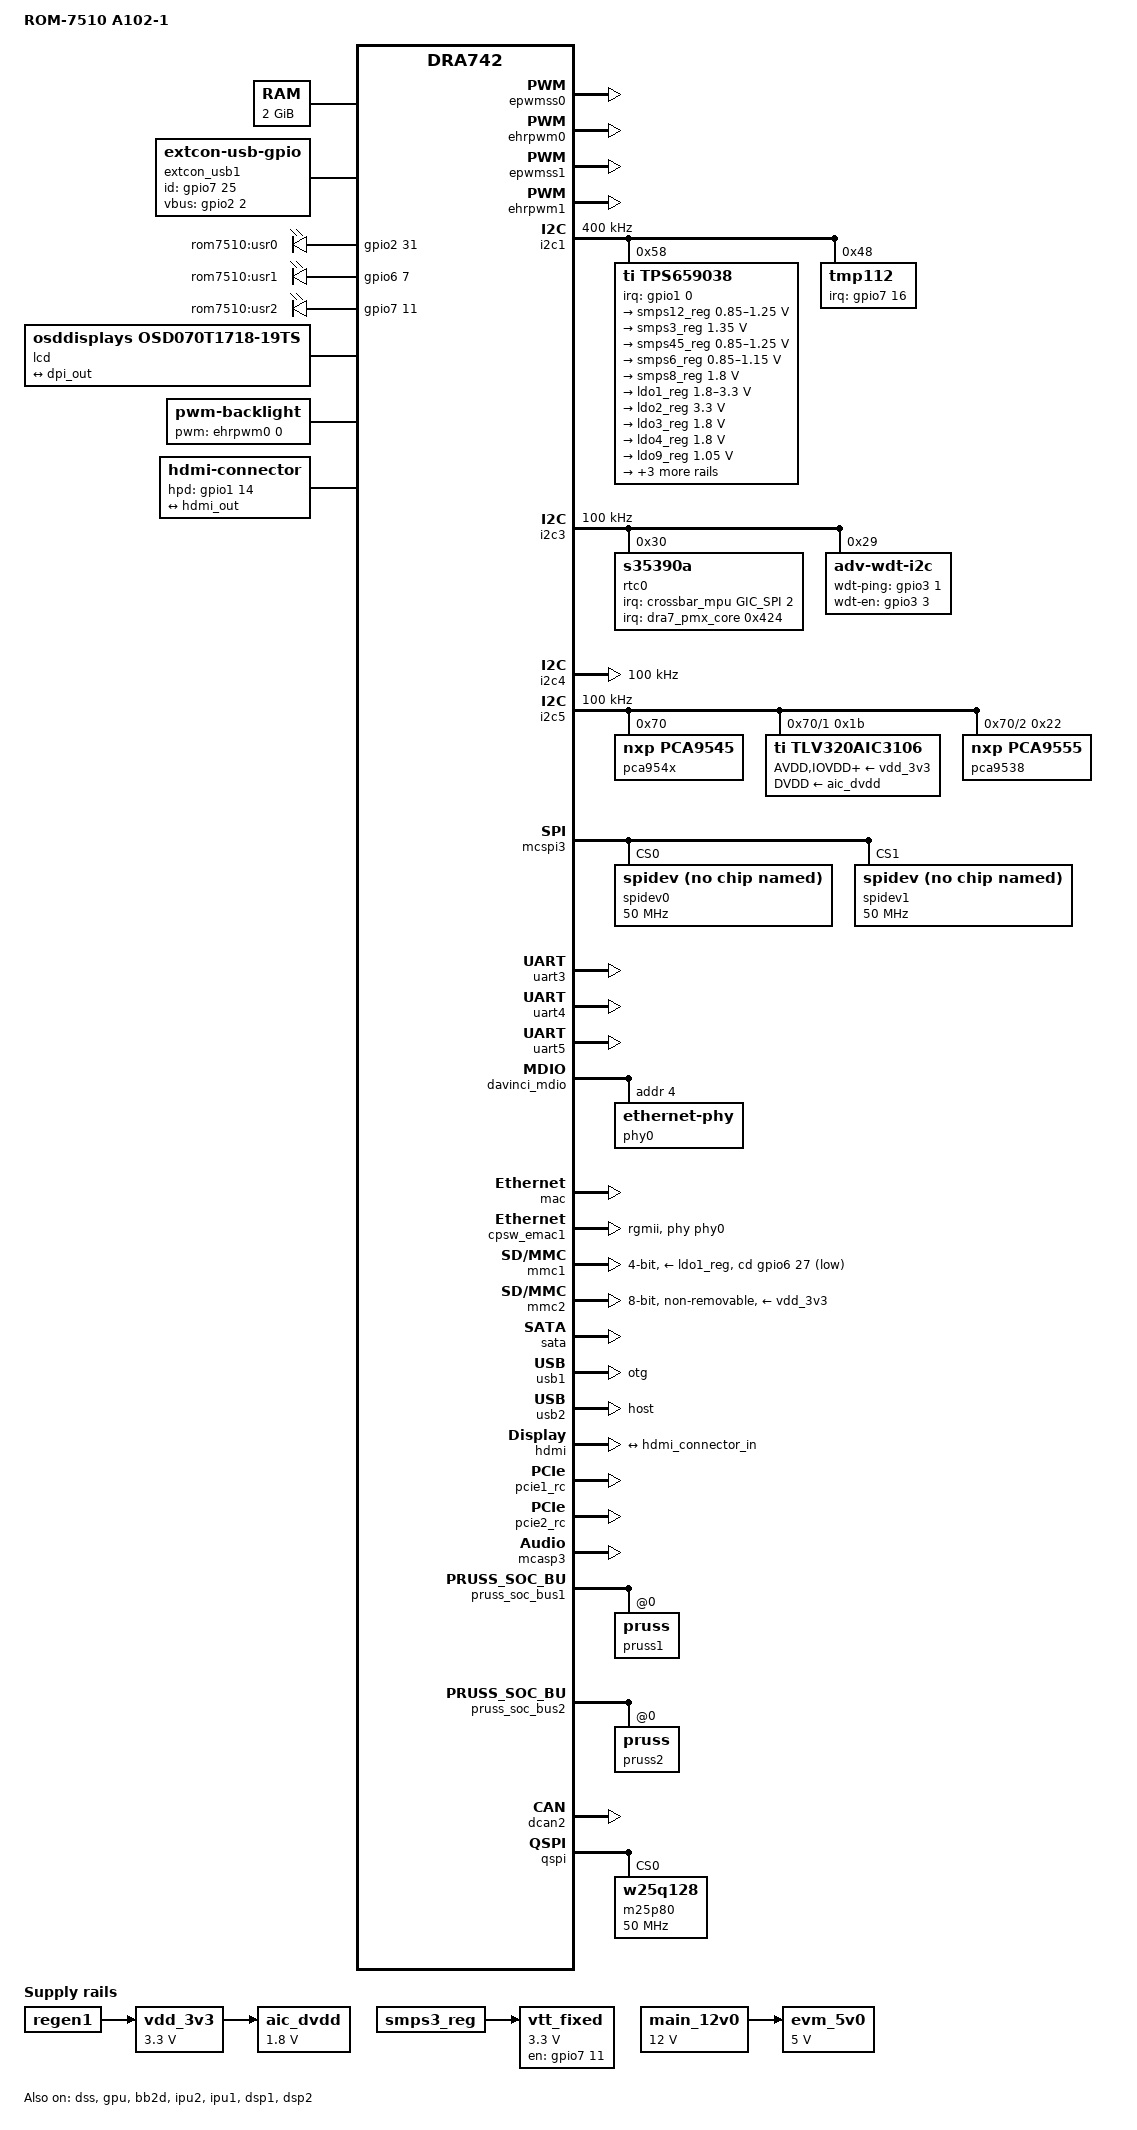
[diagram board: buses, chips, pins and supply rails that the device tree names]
/*
 * Copyright (C) 2014-2016 Texas Instruments Incorporated - http://www.ti.com/
 *
 * This program is free software; you can redistribute it and/or modify
 * it under the terms of the GNU General Public License version 2 as
 * published by the Free Software Foundation.
 */
/dts-v1/;

#include "dra74x.dtsi"
#include "am57xx-commercial-grade.dtsi"
#include "dra74-ipu-dsp-common.dtsi"
#include <dt-bindings/gpio/gpio.h>
#include <dt-bindings/interrupt-controller/irq.h>

/ {
	model = "ROM-7510 A102-1";
	compatible = "ti,am572x-beagle-x15", "ti,am5728", "ti,dra742", "ti,dra74", "ti,dra7";

	aliases {
		rtc0 = &rtc;
		display0 = &hdmi0;
		display1 = &lcd0;

		sound0 = &sound0;
		sound1 = &hdmi;
	};

	ocp {
		axi@0 {
			status = "okay";
		};

		axi@1 {
			status = "okay";
		};
	};

	chosen {
		stdout-path = &uart3;
	};

	memory@0 {
		device_type = "memory";
		reg = <0x0 0x80000000 0x0 0x80000000>;
	};

	reserved-memory {
		#address-cells = <2>;
		#size-cells = <2>;
		ranges;

		ipu2_memory_region: ipu2-memory@95800000 {
			compatible = "shared-dma-pool";
			reg = <0x0 0x95800000 0x0 0x3800000>;
			reusable;
			status = "okay";
		};

		dsp1_memory_region: dsp1-memory@99000000 {
			compatible = "shared-dma-pool";
			reg = <0x0 0x99000000 0x0 0x4000000>;
			reusable;
			status = "okay";
		};

		ipu1_memory_region: ipu1-memory@9d000000 {
			compatible = "shared-dma-pool";
			reg = <0x0 0x9d000000 0x0 0x2000000>;
			reusable;
			status = "okay";
		};

		dsp2_memory_region: dsp2-memory@9f000000 {
			compatible = "shared-dma-pool";
			reg = <0x0 0x9f000000 0x0 0x800000>;
			reusable;
			status = "okay";
		};

		cmem_block_mem_0: cmem_block_mem@a0000000 {
			reg = <0x0 0xa0000000 0x0 0x0c000000>;
			no-map;
			status = "okay";
		};

		cmem_block_mem_1_ocmc3: cmem_block_mem@40500000 {
			reg = <0x0 0x40500000 0x0 0x100000>;
			no-map;
			status = "okay";
		};
	};

	cmem {
		compatible = "ti,cmem";
		#address-cells = <1>;
		#size-cells = <0>;

		#pool-size-cells = <2>;

		status = "okay";

		cmem_block_0: cmem_block@0 {
			reg = <0>;
			memory-region = <&cmem_block_mem_0>;
			cmem-buf-pools = <1 0x0 0x0c000000>;
		};

		cmem_block_1: cmem_block@1 {
			reg = <1>;
			memory-region = <&cmem_block_mem_1_ocmc3>;
		};
	};

	main_12v0: fixedregulator-main_12v0 {
		/* main supply */
		compatible = "regulator-fixed";
		regulator-name = "main_12v0";
		regulator-min-microvolt = <12000000>;
		regulator-max-microvolt = <12000000>;
		regulator-always-on;
		regulator-boot-on;
	};

	evm_5v0: fixedregulator-evm_5v0 {
		/* Output of TPS54531D */
		compatible = "regulator-fixed";
		regulator-name = "evm_5v0";
		regulator-min-microvolt = <5000000>;
		regulator-max-microvolt = <5000000>;
		vin-supply = <&main_12v0>;
		regulator-always-on;
		regulator-boot-on;
	};

	vdd_3v3: fixedregulator-vdd_3v3 {
		compatible = "regulator-fixed";
		regulator-name = "vdd_3v3";
		vin-supply = <&regen1>;
		regulator-min-microvolt = <3300000>;
		regulator-max-microvolt = <3300000>;
	};

	aic_dvdd: fixedregulator-aic_dvdd {
		compatible = "regulator-fixed";
		regulator-name = "aic_dvdd_fixed";
		vin-supply = <&vdd_3v3>;
		regulator-min-microvolt = <1800000>;
		regulator-max-microvolt = <1800000>;
	};

	vtt_fixed: fixedregulator-vtt {
		/* TPS51200 */
		compatible = "regulator-fixed";
		regulator-name = "vtt_fixed";
		vin-supply = <&smps3_reg>;
		regulator-min-microvolt = <3300000>;
		regulator-max-microvolt = <3300000>;
		regulator-always-on;
		regulator-boot-on;
		enable-active-high;
		gpio = <&gpio7 11 GPIO_ACTIVE_HIGH>;
	};

	extcon_usb1: extcon_usb1 {
		compatible = "linux,extcon-usb-gpio";
		ti,enable-vbus-detection;
		ti,enable-id-detection;
		id-gpio = <&gpio7 25 GPIO_ACTIVE_HIGH>;
		vbus-gpio = <&gpio2 2 GPIO_ACTIVE_HIGH>;
	};

	leds {
		compatible = "gpio-leds";

		led0 {
			label = "rom7510:usr0";
			gpios = <&gpio2 31 GPIO_ACTIVE_HIGH>;
			linux,default-trigger = "mmc0";
			default-state = "off";
		};

		led1 {
			label = "rom7510:usr1";
			gpios = <&gpio6 7 GPIO_ACTIVE_HIGH>;
			linux,default-trigger = "watchdog";
			default-state = "off";
		};

		led2 {
			label = "rom7510:usr2";
			gpios = <&gpio7 11 GPIO_ACTIVE_HIGH>;
			linux,default-trigger = "ide-disk";
			default-state = "off";
		};
	};

	/*
	* LCD Pannel Setting 
	*/
	lcd0: display {
		compatible = "osddisplays,osd070t1718-19ts", "panel-dpi";
		label = "lcd";

		/* enable-gpios = <&gpio2 5 GPIO_ACTIVE_HIGH>;*/

		panel-timing {
			clock-frequency = <148500000>;
			hactive = <1920>;
			vactive = <1080>;
			hfront-porch = <24>;
			hback-porch = <54>;
			hsync-len = <12>;
			vback-porch = <3>;
			vfront-porch = <40>;
			vsync-len = <7>;
			hsync-active = <0>;
			vsync-active = <0>;
			de-active = <1>;
			pixelclk-active = <1>;
		};
		/*panel-timing {
			clock-frequency = <29500000>;
			hactive = <800>;
			vactive = <480>;
			hfront-porch = <24>;
			hback-porch = <96>;
			hsync-len = <72>;
			vback-porch = <3>;
			vfront-porch = <10>;
			vsync-len = <7>;
			hsync-active = <0>;
			vsync-active = <0>;
			de-active = <1>;
			pixelclk-active = <1>;
		};*/

		/*panel-timing {
			clock-frequency = <65000000>;
			hactive = <1024>;
			vactive = <768>;
			hfront-porch = <40>;
			hback-porch = <220>;
			hsync-len = <60>;
			vback-porch = <21>;
			vfront-porch = <7>;
			vsync-len = <10>;
			hsync-active = <0>;
			vsync-active = <0>;
			de-active = <1>;
			pixelclk-active = <1>;
		};*/
		

		port {
			lcd_in: endpoint {
				remote-endpoint = <&dpi_out>;
			};
		};
	};

	/*
	* LCD Backlight.
	*/
	backlight {
		compatible = "pwm-backlight";
		pwms = <&ehrpwm0 0 50000 0>;

		/* Anything lower than 241 is no longer visible */
		brightness-levels = <0 150 245 247 249 251 252 253 255>;

		default-brightness-level = <1>;
	};

	hdmi0: connector {
		compatible = "hdmi-connector";
		label = "hdmi";

		type = "a";
		hpd-gpios = <&gpio1 14 GPIO_ACTIVE_HIGH>; /* HPD */

		port {
			hdmi_connector_in: endpoint {
				remote-endpoint = <&hdmi_out>;
			};
		};
	};

	sound0: sound0 {
		compatible = "simple-audio-card";
		simple-audio-card,name = "BeagleBoard-X15";
		simple-audio-card,widgets =
			"Headphone", "Headphone Jack",
			"Microphone", "Mic Jack";
		simple-audio-card,routing =
			"Headphone Jack", "HPLOUT",
			"Headphone Jack", "HPROUT",
			"MIC3R",	"Mic Jack",
			"Mic Jack", "Mic Bias";
		simple-audio-card,format = "dsp_b";
		simple-audio-card,bitclock-master = <&sound0_master>;
		simple-audio-card,frame-master = <&sound0_master>;
		simple-audio-card,bitclock-inversion;

		simple-audio-card,cpu {
			sound-dai = <&mcasp3>;
		};

		sound0_master: simple-audio-card,codec {
			sound-dai = <&tlv320aic3106>;
			clocks = <&clkout2_clk>;
		};
	};
};

&dra7_pmx_core {
	mmc1_pins_default: mmc1_pins_default {
		pinctrl-single,pins = <
			DRA7XX_CORE_IOPAD(0x3754, PIN_INPUT_PULLUP | MUX_MODE0) /* mmc1_clk.clk */
			DRA7XX_CORE_IOPAD(0x3758, PIN_INPUT_PULLUP | MUX_MODE0) /* mmc1_cmd.cmd */
			DRA7XX_CORE_IOPAD(0x375c, PIN_INPUT_PULLUP | MUX_MODE0) /* mmc1_dat0.dat0 */
			DRA7XX_CORE_IOPAD(0x3760, PIN_INPUT_PULLUP | MUX_MODE0) /* mmc1_dat1.dat1 */
			DRA7XX_CORE_IOPAD(0x3764, PIN_INPUT_PULLUP | MUX_MODE0) /* mmc1_dat2.dat2 */
			DRA7XX_CORE_IOPAD(0x3768, PIN_INPUT_PULLUP | MUX_MODE0) /* mmc1_dat3.dat3 */
		>;
	};

	mmc1_pins_default_no_clk_pu: mmc1_pins_default_no_clk_pu {
		pinctrl-single,pins = <
			DRA7XX_CORE_IOPAD(0x3754, PIN_INPUT_PULLDOWN | MUX_MODE0) /* mmc1_clk.clk */
			DRA7XX_CORE_IOPAD(0x3758, PIN_INPUT_PULLUP | MUX_MODE0) /* mmc1_cmd.cmd */
			DRA7XX_CORE_IOPAD(0x375c, PIN_INPUT_PULLUP | MUX_MODE0) /* mmc1_dat0.dat0 */
			DRA7XX_CORE_IOPAD(0x3760, PIN_INPUT_PULLUP | MUX_MODE0) /* mmc1_dat1.dat1 */
			DRA7XX_CORE_IOPAD(0x3764, PIN_INPUT_PULLUP | MUX_MODE0) /* mmc1_dat2.dat2 */
			DRA7XX_CORE_IOPAD(0x3768, PIN_INPUT_PULLUP | MUX_MODE0) /* mmc1_dat3.dat3 */
		>;
	};

	mmc1_pins_sdr12: mmc1_pins_sdr12 {
		pinctrl-single,pins = <
			DRA7XX_CORE_IOPAD(0x3754, PIN_INPUT_PULLUP | MUX_MODE0)	/* mmc1_clk.clk */
			DRA7XX_CORE_IOPAD(0x3758, PIN_INPUT_PULLUP | MUX_MODE0)	/* mmc1_cmd.cmd */
			DRA7XX_CORE_IOPAD(0x375c, PIN_INPUT_PULLUP | MUX_MODE0)	/* mmc1_dat0.dat0 */
			DRA7XX_CORE_IOPAD(0x3760, PIN_INPUT_PULLUP | MUX_MODE0)	/* mmc1_dat1.dat1 */
			DRA7XX_CORE_IOPAD(0x3764, PIN_INPUT_PULLUP | MUX_MODE0)	/* mmc1_dat2.dat2 */
			DRA7XX_CORE_IOPAD(0x3768, PIN_INPUT_PULLUP | MUX_MODE0)	/* mmc1_dat3.dat3 */
		>;
	};

	mmc1_pins_hs: mmc1_pins_hs {
		pinctrl-single,pins = <
			DRA7XX_CORE_IOPAD(0x3754, PIN_INPUT_PULLUP | MUX_VIRTUAL_MODE11 | MUX_MODE0) /* mmc1_clk.clk */
			DRA7XX_CORE_IOPAD(0x3758, PIN_INPUT_PULLUP | MUX_VIRTUAL_MODE11 | MUX_MODE0) /* mmc1_cmd.cmd */
			DRA7XX_CORE_IOPAD(0x375c, PIN_INPUT_PULLUP | MUX_VIRTUAL_MODE11 | MUX_MODE0) /* mmc1_dat0.dat0 */
			DRA7XX_CORE_IOPAD(0x3760, PIN_INPUT_PULLUP | MUX_VIRTUAL_MODE11 | MUX_MODE0) /* mmc1_dat1.dat1 */
			DRA7XX_CORE_IOPAD(0x3764, PIN_INPUT_PULLUP | MUX_VIRTUAL_MODE11 | MUX_MODE0) /* mmc1_dat2.dat2 */
			DRA7XX_CORE_IOPAD(0x3768, PIN_INPUT_PULLUP | MUX_VIRTUAL_MODE11 | MUX_MODE0) /* mmc1_dat3.dat3 */
		>;
	};

	mmc1_pins_sdr25: mmc1_pins_sdr25 {
		pinctrl-single,pins = <
			DRA7XX_CORE_IOPAD(0x3754, PIN_INPUT_PULLUP | MUX_VIRTUAL_MODE11 | MUX_MODE0)	/* mmc1_clk.clk */
			DRA7XX_CORE_IOPAD(0x3758, PIN_INPUT_PULLUP | MUX_VIRTUAL_MODE11 | MUX_MODE0)	/* mmc1_cmd.cmd */
			DRA7XX_CORE_IOPAD(0x375c, PIN_INPUT_PULLUP | MUX_VIRTUAL_MODE11 | MUX_MODE0)	/* mmc1_dat0.dat0 */
			DRA7XX_CORE_IOPAD(0x3760, PIN_INPUT_PULLUP | MUX_VIRTUAL_MODE11 | MUX_MODE0)	/* mmc1_dat1.dat1 */
			DRA7XX_CORE_IOPAD(0x3764, PIN_INPUT_PULLUP | MUX_VIRTUAL_MODE11 | MUX_MODE0)	/* mmc1_dat2.dat2 */
			DRA7XX_CORE_IOPAD(0x3768, PIN_INPUT_PULLUP | MUX_VIRTUAL_MODE11 | MUX_MODE0)	/* mmc1_dat3.dat3 */
		>;
	};

	mmc1_pins_sdr50: mmc1_pins_sdr50 {
		pinctrl-single,pins = <
			DRA7XX_CORE_IOPAD(0x3754, PIN_INPUT_PULLUP | MUX_VIRTUAL_MODE10 | MUX_MODE0)	/* mmc1_clk.clk */
			DRA7XX_CORE_IOPAD(0x3758, PIN_INPUT_PULLUP | MUX_VIRTUAL_MODE10 | MUX_MODE0)	/* mmc1_cmd.cmd */
			DRA7XX_CORE_IOPAD(0x375c, PIN_INPUT_PULLUP | MUX_VIRTUAL_MODE10 | MUX_MODE0)	/* mmc1_dat0.dat0 */
			DRA7XX_CORE_IOPAD(0x3760, PIN_INPUT_PULLUP | MUX_VIRTUAL_MODE10 | MUX_MODE0)	/* mmc1_dat1.dat1 */
			DRA7XX_CORE_IOPAD(0x3764, PIN_INPUT_PULLUP | MUX_VIRTUAL_MODE10 | MUX_MODE0)	/* mmc1_dat2.dat2 */
			DRA7XX_CORE_IOPAD(0x3768, PIN_INPUT_PULLUP | MUX_VIRTUAL_MODE10 | MUX_MODE0)	/* mmc1_dat3.dat3 */
		>;
	};

	mmc1_pins_ddr50: mmc1_pins_ddr50 {
		pinctrl-single,pins = <
			DRA7XX_CORE_IOPAD(0x3754, PIN_INPUT_PULLUP | MODE_SELECT | MUX_MODE0)	/* mmc1_clk.clk */
			DRA7XX_CORE_IOPAD(0x3758, PIN_INPUT_PULLUP | MODE_SELECT | MUX_MODE0)	/* mmc1_cmd.cmd */
			DRA7XX_CORE_IOPAD(0x375c, PIN_INPUT_PULLUP | MODE_SELECT | MUX_MODE0)	/* mmc1_dat0.dat0 */
			DRA7XX_CORE_IOPAD(0x3760, PIN_INPUT_PULLUP | MODE_SELECT | MUX_MODE0)	/* mmc1_dat1.dat1 */
			DRA7XX_CORE_IOPAD(0x3764, PIN_INPUT_PULLUP | MODE_SELECT | MUX_MODE0)	/* mmc1_dat2.dat2 */
			DRA7XX_CORE_IOPAD(0x3768, PIN_INPUT_PULLUP | MODE_SELECT | MUX_MODE0)	/* mmc1_dat3.dat3 */
		>;
	};

	mmc1_pins_sdr104: mmc1_pins_sdr104 {
		pinctrl-single,pins = <
			DRA7XX_CORE_IOPAD(0x3754, PIN_INPUT_PULLUP | MODE_SELECT | MUX_MODE0)	/* mmc1_clk.clk */
			DRA7XX_CORE_IOPAD(0x3758, PIN_INPUT_PULLUP | MODE_SELECT | MUX_MODE0)	/* mmc1_cmd.cmd */
			DRA7XX_CORE_IOPAD(0x375c, PIN_INPUT_PULLUP | MODE_SELECT | MUX_MODE0)	/* mmc1_dat0.dat0 */
			DRA7XX_CORE_IOPAD(0x3760, PIN_INPUT_PULLUP | MODE_SELECT | MUX_MODE0)	/* mmc1_dat1.dat1 */
			DRA7XX_CORE_IOPAD(0x3764, PIN_INPUT_PULLUP | MODE_SELECT | MUX_MODE0)	/* mmc1_dat2.dat2 */
			DRA7XX_CORE_IOPAD(0x3768, PIN_INPUT_PULLUP | MODE_SELECT | MUX_MODE0)	/* mmc1_dat3.dat3 */
		>;
	};

	mmc2_pins_default: mmc2_pins_default {
		pinctrl-single,pins = <
			DRA7XX_CORE_IOPAD(0x349c, PIN_INPUT_PULLUP | MUX_MODE1) /* gpmc_a23.mmc2_clk */
			DRA7XX_CORE_IOPAD(0x34b0, PIN_INPUT_PULLUP | MUX_MODE1) /* gpmc_cs1.mmc2_cmd */
			DRA7XX_CORE_IOPAD(0x34a0, PIN_INPUT_PULLUP | MUX_MODE1) /* gpmc_a24.mmc2_dat0 */
			DRA7XX_CORE_IOPAD(0x34a4, PIN_INPUT_PULLUP | MUX_MODE1) /* gpmc_a25.mmc2_dat1 */
			DRA7XX_CORE_IOPAD(0x34a8, PIN_INPUT_PULLUP | MUX_MODE1) /* gpmc_a26.mmc2_dat2 */
			DRA7XX_CORE_IOPAD(0x34ac, PIN_INPUT_PULLUP | MUX_MODE1) /* gpmc_a27.mmc2_dat3 */
			DRA7XX_CORE_IOPAD(0x348c, PIN_INPUT_PULLUP | MUX_MODE1) /* gpmc_a19.mmc2_dat4 */
			DRA7XX_CORE_IOPAD(0x3490, PIN_INPUT_PULLUP | MUX_MODE1) /* gpmc_a20.mmc2_dat5 */
			DRA7XX_CORE_IOPAD(0x3494, PIN_INPUT_PULLUP | MUX_MODE1) /* gpmc_a21.mmc2_dat6 */
			DRA7XX_CORE_IOPAD(0x3498, PIN_INPUT_PULLUP | MUX_MODE1) /* gpmc_a22.mmc2_dat7 */
		>;
	};

	mmc2_pins_hs: mmc2_pins_hs {
		pinctrl-single,pins = <
			DRA7XX_CORE_IOPAD(0x349c, PIN_INPUT_PULLUP | MUX_MODE1) /* gpmc_a23.mmc2_clk */
			DRA7XX_CORE_IOPAD(0x34b0, PIN_INPUT_PULLUP | MUX_MODE1) /* gpmc_cs1.mmc2_cmd */
			DRA7XX_CORE_IOPAD(0x34a0, PIN_INPUT_PULLUP | MUX_MODE1) /* gpmc_a24.mmc2_dat0 */
			DRA7XX_CORE_IOPAD(0x34a4, PIN_INPUT_PULLUP | MUX_MODE1) /* gpmc_a25.mmc2_dat1 */
			DRA7XX_CORE_IOPAD(0x34a8, PIN_INPUT_PULLUP | MUX_MODE1) /* gpmc_a26.mmc2_dat2 */
			DRA7XX_CORE_IOPAD(0x34ac, PIN_INPUT_PULLUP | MUX_MODE1) /* gpmc_a27.mmc2_dat3 */
			DRA7XX_CORE_IOPAD(0x348c, PIN_INPUT_PULLUP | MUX_MODE1) /* gpmc_a19.mmc2_dat4 */
			DRA7XX_CORE_IOPAD(0x3490, PIN_INPUT_PULLUP | MUX_MODE1) /* gpmc_a20.mmc2_dat5 */
			DRA7XX_CORE_IOPAD(0x3494, PIN_INPUT_PULLUP | MUX_MODE1) /* gpmc_a21.mmc2_dat6 */
			DRA7XX_CORE_IOPAD(0x3498, PIN_INPUT_PULLUP | MUX_MODE1) /* gpmc_a22.mmc2_dat7 */
		>;
	};

	mmc2_pins_ddr_3_3v_rev11: mmc2_pins_ddr_3_3v_rev11 {
		pinctrl-single,pins = <
			DRA7XX_CORE_IOPAD(0x349c, PIN_INPUT_PULLUP | MODE_SELECT | MUX_MODE1) /* gpmc_a23.mmc2_clk */
			DRA7XX_CORE_IOPAD(0x34b0, PIN_INPUT_PULLUP | MODE_SELECT | MUX_MODE1) /* gpmc_cs1.mmc2_cmd */
			DRA7XX_CORE_IOPAD(0x34a0, PIN_INPUT_PULLUP | MODE_SELECT | MUX_MODE1) /* gpmc_a24.mmc2_dat0 */
			DRA7XX_CORE_IOPAD(0x34a4, PIN_INPUT_PULLUP | MODE_SELECT | MUX_MODE1) /* gpmc_a25.mmc2_dat1 */
			DRA7XX_CORE_IOPAD(0x34a8, PIN_INPUT_PULLUP | MODE_SELECT | MUX_MODE1) /* gpmc_a26.mmc2_dat2 */
			DRA7XX_CORE_IOPAD(0x34ac, PIN_INPUT_PULLUP | MODE_SELECT | MUX_MODE1) /* gpmc_a27.mmc2_dat3 */
			DRA7XX_CORE_IOPAD(0x348c, PIN_INPUT_PULLUP | MODE_SELECT | MUX_MODE1) /* gpmc_a19.mmc2_dat4 */
			DRA7XX_CORE_IOPAD(0x3490, PIN_INPUT_PULLUP | MODE_SELECT | MUX_MODE1) /* gpmc_a20.mmc2_dat5 */
			DRA7XX_CORE_IOPAD(0x3494, PIN_INPUT_PULLUP | MODE_SELECT | MUX_MODE1) /* gpmc_a21.mmc2_dat6 */
			DRA7XX_CORE_IOPAD(0x3498, PIN_INPUT_PULLUP | MODE_SELECT | MUX_MODE1) /* gpmc_a22.mmc2_dat7 */
		>;
	};

	mmc2_pins_ddr_1_8v_rev11: mmc2_pins_ddr_1_8v_rev11 {
		pinctrl-single,pins = <
			DRA7XX_CORE_IOPAD(0x349c, PIN_INPUT_PULLUP | MODE_SELECT | MUX_MODE1) /* gpmc_a23.mmc2_clk */
			DRA7XX_CORE_IOPAD(0x34b0, PIN_INPUT_PULLUP | MODE_SELECT | MUX_MODE1) /* gpmc_cs1.mmc2_cmd */
			DRA7XX_CORE_IOPAD(0x34a0, PIN_INPUT_PULLUP | MODE_SELECT | MUX_MODE1) /* gpmc_a24.mmc2_dat0 */
			DRA7XX_CORE_IOPAD(0x34a4, PIN_INPUT_PULLUP | MODE_SELECT | MUX_MODE1) /* gpmc_a25.mmc2_dat1 */
			DRA7XX_CORE_IOPAD(0x34a8, PIN_INPUT_PULLUP | MODE_SELECT | MUX_MODE1) /* gpmc_a26.mmc2_dat2 */
			DRA7XX_CORE_IOPAD(0x34ac, PIN_INPUT_PULLUP | MODE_SELECT | MUX_MODE1) /* gpmc_a27.mmc2_dat3 */
			DRA7XX_CORE_IOPAD(0x348c, PIN_INPUT_PULLUP | MODE_SELECT | MUX_MODE1) /* gpmc_a19.mmc2_dat4 */
			DRA7XX_CORE_IOPAD(0x3490, PIN_INPUT_PULLUP | MODE_SELECT | MUX_MODE1) /* gpmc_a20.mmc2_dat5 */
			DRA7XX_CORE_IOPAD(0x3494, PIN_INPUT_PULLUP | MODE_SELECT | MUX_MODE1) /* gpmc_a21.mmc2_dat6 */
			DRA7XX_CORE_IOPAD(0x3498, PIN_INPUT_PULLUP | MODE_SELECT | MUX_MODE1) /* gpmc_a22.mmc2_dat7 */
		>;
	};

	mmc2_pins_ddr_rev20: mmc2_pins_ddr_rev20 {
		pinctrl-single,pins = <
			DRA7XX_CORE_IOPAD(0x349c, PIN_INPUT_PULLUP | MUX_MODE1) /* gpmc_a23.mmc2_clk */
			DRA7XX_CORE_IOPAD(0x34b0, PIN_INPUT_PULLUP | MUX_MODE1) /* gpmc_cs1.mmc2_cmd */
			DRA7XX_CORE_IOPAD(0x34a0, PIN_INPUT_PULLUP | MUX_MODE1) /* gpmc_a24.mmc2_dat0 */
			DRA7XX_CORE_IOPAD(0x34a4, PIN_INPUT_PULLUP | MUX_MODE1) /* gpmc_a25.mmc2_dat1 */
			DRA7XX_CORE_IOPAD(0x34a8, PIN_INPUT_PULLUP | MUX_MODE1) /* gpmc_a26.mmc2_dat2 */
			DRA7XX_CORE_IOPAD(0x34ac, PIN_INPUT_PULLUP | MUX_MODE1) /* gpmc_a27.mmc2_dat3 */
			DRA7XX_CORE_IOPAD(0x348c, PIN_INPUT_PULLUP | MUX_MODE1) /* gpmc_a19.mmc2_dat4 */
			DRA7XX_CORE_IOPAD(0x3490, PIN_INPUT_PULLUP | MUX_MODE1) /* gpmc_a20.mmc2_dat5 */
			DRA7XX_CORE_IOPAD(0x3494, PIN_INPUT_PULLUP | MUX_MODE1) /* gpmc_a21.mmc2_dat6 */
			DRA7XX_CORE_IOPAD(0x3498, PIN_INPUT_PULLUP | MUX_MODE1) /* gpmc_a22.mmc2_dat7 */
		>;
	};

	mmc2_pins_hs200: mmc2_pins_hs200 {
		pinctrl-single,pins = <
			DRA7XX_CORE_IOPAD(0x349c, PIN_INPUT_PULLUP | MODE_SELECT | MUX_MODE1) /* gpmc_a23.mmc2_clk */
			DRA7XX_CORE_IOPAD(0x34b0, PIN_INPUT_PULLUP | MODE_SELECT | MUX_MODE1) /* gpmc_cs1.mmc2_cmd */
			DRA7XX_CORE_IOPAD(0x34a0, PIN_INPUT_PULLUP | MODE_SELECT | MUX_MODE1) /* gpmc_a24.mmc2_dat0 */
			DRA7XX_CORE_IOPAD(0x34a4, PIN_INPUT_PULLUP | MODE_SELECT | MUX_MODE1) /* gpmc_a25.mmc2_dat1 */
			DRA7XX_CORE_IOPAD(0x34a8, PIN_INPUT_PULLUP | MODE_SELECT | MUX_MODE1) /* gpmc_a26.mmc2_dat2 */
			DRA7XX_CORE_IOPAD(0x34ac, PIN_INPUT_PULLUP | MODE_SELECT | MUX_MODE1) /* gpmc_a27.mmc2_dat3 */
			DRA7XX_CORE_IOPAD(0x348c, PIN_INPUT_PULLUP | MODE_SELECT | MUX_MODE1) /* gpmc_a19.mmc2_dat4 */
			DRA7XX_CORE_IOPAD(0x3490, PIN_INPUT_PULLUP | MODE_SELECT | MUX_MODE1) /* gpmc_a20.mmc2_dat5 */
			DRA7XX_CORE_IOPAD(0x3494, PIN_INPUT_PULLUP | MODE_SELECT | MUX_MODE1) /* gpmc_a21.mmc2_dat6 */
			DRA7XX_CORE_IOPAD(0x3498, PIN_INPUT_PULLUP | MODE_SELECT | MUX_MODE1) /* gpmc_a22.mmc2_dat7 */
		>;
	};

	uart4_pins: pinmux_uart4_pins {
		pinctrl-single,pins = <
			0x33c (PIN_INPUT | MUX_MODE4)	/* mcasp4_axr0.uart4_rxd */
			0x340 (PIN_OUTPUT | MUX_MODE4)	/* mcasp4_axr1.uart4_txd */
			0x260 (PIN_INPUT | MUX_MODE8)		/* rgmii0_txd1.uart4_ctsn */
			0x264 (PIN_OUTPUT_PULLDOWN | MUX_MODE8)		/* rgmii0_txd0.uart4_rtsn */
		>;
	};

	uart5_pins: pinmux_uart5_pins {
		pinctrl-single,pins = <
			0x40 (PIN_INPUT | MUX_MODE8)	/* gpmc_a0.uart5_rxd */
			0x44 (PIN_OUTPUT | MUX_MODE8)	/* gpmc_a1.uart5_txd */
			0x48 (PIN_INPUT | MUX_MODE8)		/* gpmc_a2.uart5_ctsn */
			0x4c (PIN_OUTPUT_PULLDOWN | MUX_MODE8)		/* gpmc_a3.uart5_rtsn */
		>;
	};

	dcan2_pins: dcan2_pins {
		pinctrl-single,pins = <
			0x288 (PIN_OUTPUT_PULLUP | MUX_MODE2) 
			0x28C (PIN_INPUT_PULLUP | MUX_MODE2)
		>;
};
};

&dra7_iodelay_core {

	/* Corresponds to MMC1_DDR_MANUAL1 in datamanual */
	mmc1_iodelay_ddr_rev11_conf: mmc1_iodelay_ddr_rev11_conf {
		pinctrl-pin-array = <
			0x618 A_DELAY_PS(572) G_DELAY_PS(540)	/* CFG_MMC1_CLK_IN */
			0x620 A_DELAY_PS(1525) G_DELAY_PS(0)	/* CFG_MMC1_CLK_OUT */
			0x624 A_DELAY_PS(0) G_DELAY_PS(600)	/* CFG_MMC1_CMD_IN */
			0x628 A_DELAY_PS(0) G_DELAY_PS(0)	/* CFG_MMC1_CMD_OEN */
			0x62c A_DELAY_PS(55) G_DELAY_PS(0)	/* CFG_MMC1_CMD_OUT */
			0x630 A_DELAY_PS(403) G_DELAY_PS(120)	/* CFG_MMC1_DAT0_IN */
			0x634 A_DELAY_PS(0) G_DELAY_PS(0)	/* CFG_MMC1_DAT0_OEN */
			0x638 A_DELAY_PS(0) G_DELAY_PS(0)	/* CFG_MMC1_DAT0_OUT */
			0x63c A_DELAY_PS(23) G_DELAY_PS(60)	/* CFG_MMC1_DAT1_IN */
			0x640 A_DELAY_PS(0) G_DELAY_PS(0)	/* CFG_MMC1_DAT1_OEN */
			0x644 A_DELAY_PS(0) G_DELAY_PS(0)	/* CFG_MMC1_DAT1_OUT */
			0x648 A_DELAY_PS(25) G_DELAY_PS(60)	/* CFG_MMC1_DAT2_IN */
			0x64c A_DELAY_PS(0) G_DELAY_PS(0)	/* CFG_MMC1_DAT2_OEN */
			0x650 A_DELAY_PS(0) G_DELAY_PS(0)	/* CFG_MMC1_DAT2_OUT */
			0x654 A_DELAY_PS(0) G_DELAY_PS(0)	/* CFG_MMC1_DAT3_IN */
			0x658 A_DELAY_PS(0) G_DELAY_PS(0)	/* CFG_MMC1_DAT3_OEN */
			0x65c A_DELAY_PS(0) G_DELAY_PS(0)	/* CFG_MMC1_DAT3_OUT */
		>;
	};

	/* Corresponds to MMC1_DDR_MANUAL1 in datamanual */
	mmc1_iodelay_ddr_rev20_conf: mmc1_iodelay_ddr50_rev20_conf {
		pinctrl-pin-array = <
			0x618 A_DELAY_PS(1076) G_DELAY_PS(330)	/* CFG_MMC1_CLK_IN */
			0x620 A_DELAY_PS(1271) G_DELAY_PS(0)	/* CFG_MMC1_CLK_OUT */
			0x624 A_DELAY_PS(722) G_DELAY_PS(0)	/* CFG_MMC1_CMD_IN */
			0x628 A_DELAY_PS(0) G_DELAY_PS(0)	/* CFG_MMC1_CMD_OEN */
			0x62C A_DELAY_PS(0) G_DELAY_PS(0)	/* CFG_MMC1_CMD_OUT */
			0x630 A_DELAY_PS(751) G_DELAY_PS(0)	/* CFG_MMC1_DAT0_IN */
			0x634 A_DELAY_PS(0) G_DELAY_PS(0)	/* CFG_MMC1_DAT0_OEN */
			0x638 A_DELAY_PS(20) G_DELAY_PS(0)	/* CFG_MMC1_DAT0_OUT */
			0x63C A_DELAY_PS(256) G_DELAY_PS(0)	/* CFG_MMC1_DAT1_IN */
			0x640 A_DELAY_PS(0) G_DELAY_PS(0)	/* CFG_MMC1_DAT1_OEN */
			0x644 A_DELAY_PS(0) G_DELAY_PS(0)	/* CFG_MMC1_DAT1_OUT */
			0x648 A_DELAY_PS(263) G_DELAY_PS(0)	/* CFG_MMC1_DAT2_IN */
			0x64C A_DELAY_PS(0) G_DELAY_PS(0)	/* CFG_MMC1_DAT2_OEN */
			0x650 A_DELAY_PS(0) G_DELAY_PS(0)	/* CFG_MMC1_DAT2_OUT */
			0x654 A_DELAY_PS(0) G_DELAY_PS(0)	/* CFG_MMC1_DAT3_IN */
			0x658 A_DELAY_PS(0) G_DELAY_PS(0)	/* CFG_MMC1_DAT3_OEN */
			0x65C A_DELAY_PS(0) G_DELAY_PS(0)	/* CFG_MMC1_DAT3_OUT */
		>;
	};

	/* Corresponds to MMC1_SDR104_MANUAL1 in datamanual */
	mmc1_iodelay_sdr104_rev11_conf: mmc1_iodelay_sdr104_rev11_conf {
		pinctrl-pin-array = <
			0x620 A_DELAY_PS(1063) G_DELAY_PS(17)	/* CFG_MMC1_CLK_OUT */
			0x628 A_DELAY_PS(0) G_DELAY_PS(0)	/* CFG_MMC1_CMD_OEN */
			0x62c A_DELAY_PS(23) G_DELAY_PS(0)	/* CFG_MMC1_CMD_OUT */
			0x634 A_DELAY_PS(0) G_DELAY_PS(0)	/* CFG_MMC1_DAT0_OEN */
			0x638 A_DELAY_PS(0) G_DELAY_PS(0)	/* CFG_MMC1_DAT0_OUT */
			0x640 A_DELAY_PS(0) G_DELAY_PS(0)	/* CFG_MMC1_DAT1_OEN */
			0x644 A_DELAY_PS(2) G_DELAY_PS(0)	/* CFG_MMC1_DAT1_OUT */
			0x64c A_DELAY_PS(0) G_DELAY_PS(0)	/* CFG_MMC1_DAT2_OEN */
			0x650 A_DELAY_PS(0) G_DELAY_PS(0)	/* CFG_MMC1_DAT2_OUT */
			0x658 A_DELAY_PS(0) G_DELAY_PS(0)	/* CFG_MMC1_DAT3_OEN */
			0x65c A_DELAY_PS(0) G_DELAY_PS(0)	/* CFG_MMC1_DAT3_OUT */
		>;
	};

	/* Corresponds to MMC1_SDR104_MANUAL1 in datamanual */
	mmc1_iodelay_sdr104_rev20_conf: mmc1_iodelay_sdr104_rev20_conf {
		pinctrl-pin-array = <
			0x620 A_DELAY_PS(600) G_DELAY_PS(400)	/* CFG_MMC1_CLK_OUT */
			0x628 A_DELAY_PS(0) G_DELAY_PS(0)	/* CFG_MMC1_CMD_OEN */
			0x62c A_DELAY_PS(0) G_DELAY_PS(0)	/* CFG_MMC1_CMD_OUT */
			0x634 A_DELAY_PS(0) G_DELAY_PS(0)	/* CFG_MMC1_DAT0_OEN */
			0x638 A_DELAY_PS(30) G_DELAY_PS(0)	/* CFG_MMC1_DAT0_OUT */
			0x640 A_DELAY_PS(0) G_DELAY_PS(0)	/* CFG_MMC1_DAT1_OEN */
			0x644 A_DELAY_PS(0) G_DELAY_PS(0)	/* CFG_MMC1_DAT1_OUT */
			0x64c A_DELAY_PS(0) G_DELAY_PS(0)	/* CFG_MMC1_DAT2_OEN */
			0x650 A_DELAY_PS(0) G_DELAY_PS(0)	/* CFG_MMC1_DAT2_OUT */
			0x658 A_DELAY_PS(0) G_DELAY_PS(0)	/* CFG_MMC1_DAT3_OEN */
			0x65c A_DELAY_PS(0) G_DELAY_PS(0)	/* CFG_MMC1_DAT3_OUT */
		>;
	};

	/* Corresponds to MMC2_HS200_MANUAL1 in datamanual */
	mmc2_iodelay_hs200_rev11_conf: mmc2_iodelay_hs200_rev11_conf {
		pinctrl-pin-array = <
			0x190 A_DELAY_PS(621) G_DELAY_PS(600)	/* CFG_GPMC_A19_OEN */
			0x194 A_DELAY_PS(300) G_DELAY_PS(0)	/* CFG_GPMC_A19_OUT */
			0x1a8 A_DELAY_PS(739) G_DELAY_PS(600)	/* CFG_GPMC_A20_OEN */
			0x1ac A_DELAY_PS(240) G_DELAY_PS(0)	/* CFG_GPMC_A20_OUT */
			0x1b4 A_DELAY_PS(812) G_DELAY_PS(600)	/* CFG_GPMC_A21_OEN */
			0x1b8 A_DELAY_PS(240) G_DELAY_PS(0)	/* CFG_GPMC_A21_OUT */
			0x1c0 A_DELAY_PS(954) G_DELAY_PS(600)	/* CFG_GPMC_A22_OEN */
			0x1c4 A_DELAY_PS(60)  G_DELAY_PS(0)	/* CFG_GPMC_A22_OUT */
			0x1d0 A_DELAY_PS(1340) G_DELAY_PS(420)	/* CFG_GPMC_A23_OUT */
			0x1d8 A_DELAY_PS(935) G_DELAY_PS(600)	/* CFG_GPMC_A24_OEN */
			0x1dc A_DELAY_PS(0) G_DELAY_PS(0)	/* CFG_GPMC_A24_OUT */
			0x1e4 A_DELAY_PS(525) G_DELAY_PS(600)	/* CFG_GPMC_A25_OEN */
			0x1e8 A_DELAY_PS(120) G_DELAY_PS(0)	/* CFG_GPMC_A25_OUT */
			0x1f0 A_DELAY_PS(767) G_DELAY_PS(600)	/* CFG_GPMC_A26_OEN */
			0x1f4 A_DELAY_PS(225) G_DELAY_PS(0)	/* CFG_GPMC_A26_OUT */
			0x1fc A_DELAY_PS(565) G_DELAY_PS(600)	/* CFG_GPMC_A27_OEN */
			0x200 A_DELAY_PS(60) G_DELAY_PS(0)	/* CFG_GPMC_A27_OUT */
			0x364 A_DELAY_PS(969) G_DELAY_PS(600)	/* CFG_GPMC_CS1_OEN */
			0x368 A_DELAY_PS(180) G_DELAY_PS(0)	/* CFG_GPMC_CS1_OUT */
	      >;
	};

	/* Corresponds to MMC2_HS200_MANUAL1 in datamanual */
	mmc2_iodelay_hs200_rev20_conf: mmc2_iodelay_hs200_rev20_conf {
		pinctrl-pin-array = <
			0x190 A_DELAY_PS(274) G_DELAY_PS(0)       /* CFG_GPMC_A19_OEN */
			0x194 A_DELAY_PS(162) G_DELAY_PS(0)       /* CFG_GPMC_A19_OUT */
			0x1a8 A_DELAY_PS(401) G_DELAY_PS(0)       /* CFG_GPMC_A20_OEN */
			0x1ac A_DELAY_PS(73) G_DELAY_PS(0)        /* CFG_GPMC_A20_OUT */
			0x1b4 A_DELAY_PS(465) G_DELAY_PS(0)       /* CFG_GPMC_A21_OEN */
			0x1b8 A_DELAY_PS(115) G_DELAY_PS(0)       /* CFG_GPMC_A21_OUT */
			0x1c0 A_DELAY_PS(633) G_DELAY_PS(0)       /* CFG_GPMC_A22_OEN */
			0x1c4 A_DELAY_PS(47) G_DELAY_PS(0)        /* CFG_GPMC_A22_OUT */
			0x1d0 A_DELAY_PS(935) G_DELAY_PS(280)     /* CFG_GPMC_A23_OUT */
			0x1d8 A_DELAY_PS(621) G_DELAY_PS(0)       /* CFG_GPMC_A24_OEN */
			0x1dc A_DELAY_PS(0) G_DELAY_PS(0)         /* CFG_GPMC_A24_OUT */
			0x1e4 A_DELAY_PS(183) G_DELAY_PS(0)       /* CFG_GPMC_A25_OEN */
			0x1e8 A_DELAY_PS(0) G_DELAY_PS(0)         /* CFG_GPMC_A25_OUT */
			0x1f0 A_DELAY_PS(467) G_DELAY_PS(0)       /* CFG_GPMC_A26_OEN */
			0x1f4 A_DELAY_PS(0) G_DELAY_PS(0)         /* CFG_GPMC_A26_OUT */
			0x1fc A_DELAY_PS(262) G_DELAY_PS(0)       /* CFG_GPMC_A27_OEN */
			0x200 A_DELAY_PS(46) G_DELAY_PS(0)        /* CFG_GPMC_A27_OUT */
			0x364 A_DELAY_PS(684) G_DELAY_PS(0)       /* CFG_GPMC_CS1_OEN */
			0x368 A_DELAY_PS(76) G_DELAY_PS(0)        /* CFG_GPMC_CS1_OUT */
	      >;
	};

	/* Correspnds to MMC2_DDR_3V3_MANUAL1 in datamanual */
	mmc2_iodelay_ddr_3_3v_rev11_conf: mmc2_iodelay_ddr_3_3v_rev11_conf {
		pinctrl-pin-array = <
			0x18c A_DELAY_PS(0) G_DELAY_PS(120)	/* CFG_GPMC_A19_IN */
			0x190 A_DELAY_PS(0) G_DELAY_PS(0)	/* CFG_GPMC_A19_OEN */
			0x194 A_DELAY_PS(174) G_DELAY_PS(0)	/* CFG_GPMC_A19_OUT */
			0x1a4 A_DELAY_PS(265) G_DELAY_PS(360)	/* CFG_GPMC_A20_IN */
			0x1a8 A_DELAY_PS(0) G_DELAY_PS(0)	/* CFG_GPMC_A20_OEN */
			0x1ac A_DELAY_PS(168) G_DELAY_PS(0)	/* CFG_GPMC_A20_OUT */
			0x1b0 A_DELAY_PS(0) G_DELAY_PS(120)	/* CFG_GPMC_A21_IN */
			0x1b4 A_DELAY_PS(0) G_DELAY_PS(0)	/* CFG_GPMC_A21_OEN */
			0x1b8 A_DELAY_PS(136) G_DELAY_PS(0)	/* CFG_GPMC_A21_OUT */
			0x1bc A_DELAY_PS(0) G_DELAY_PS(120)	/* CFG_GPMC_A22_IN */
			0x1c0 A_DELAY_PS(0) G_DELAY_PS(0)	/* CFG_GPMC_A22_OEN */
			0x1c4 A_DELAY_PS(0) G_DELAY_PS(0)	/* CFG_GPMC_A22_OUT */
			0x1c8 A_DELAY_PS(287) G_DELAY_PS(420)	/* CFG_GPMC_A23_IN */
			0x1d0 A_DELAY_PS(879) G_DELAY_PS(0)	/* CFG_GPMC_A23_OUT */
			0x1d4 A_DELAY_PS(144) G_DELAY_PS(240)	/* CFG_GPMC_A24_IN */
			0x1d8 A_DELAY_PS(0) G_DELAY_PS(0)	/* CFG_GPMC_A24_OEN */
			0x1dc A_DELAY_PS(0) G_DELAY_PS(0)	/* CFG_GPMC_A24_OUT */
			0x1e0 A_DELAY_PS(0) G_DELAY_PS(0)	/* CFG_GPMC_A25_IN */
			0x1e4 A_DELAY_PS(0) G_DELAY_PS(0)	/* CFG_GPMC_A25_OEN */
			0x1e8 A_DELAY_PS(34) G_DELAY_PS(0)	/* CFG_GPMC_A25_OUT */
			0x1ec A_DELAY_PS(0) G_DELAY_PS(120)	/* CFG_GPMC_A26_IN */
			0x1f0 A_DELAY_PS(0) G_DELAY_PS(0)	/* CFG_GPMC_A26_OEN */
			0x1f4 A_DELAY_PS(120) G_DELAY_PS(0)	/* CFG_GPMC_A26_OUT */
			0x1f8 A_DELAY_PS(120) G_DELAY_PS(180)	/* CFG_GPMC_A27_IN */
			0x1fc A_DELAY_PS(0) G_DELAY_PS(0)	/* CFG_GPMC_A27_OEN */
			0x200 A_DELAY_PS(0) G_DELAY_PS(0)	/* CFG_GPMC_A27_OUT */
			0x360 A_DELAY_PS(0) G_DELAY_PS(0)	/* CFG_GPMC_CS1_IN */
			0x364 A_DELAY_PS(0) G_DELAY_PS(0)	/* CFG_GPMC_CS1_OEN */
			0x368 A_DELAY_PS(11) G_DELAY_PS(0)	/* CFG_GPMC_CS1_OUT */
		>;
	};

	/* Corresponds to MMC2_DDR_1V8_MANUAL1 in datamanual */
	mmc2_iodelay_ddr_1_8v_rev11_conf: mmc2_iodelay_ddr_1_8v_rev11_conf {
		pinctrl-pin-array = <
			0x18c A_DELAY_PS(0) G_DELAY_PS(0)	/* CFG_GPMC_A19_IN */
			0x190 A_DELAY_PS(0) G_DELAY_PS(0)	/* CFG_GPMC_A19_OEN */
			0x194 A_DELAY_PS(174) G_DELAY_PS(0)	/* CFG_GPMC_A19_OUT */
			0x1a4 A_DELAY_PS(274) G_DELAY_PS(240)	/* CFG_GPMC_A20_IN */
			0x1a8 A_DELAY_PS(0) G_DELAY_PS(0)	/* CFG_GPMC_A20_OEN */
			0x1ac A_DELAY_PS(168) G_DELAY_PS(0)	/* CFG_GPMC_A20_OUT */
			0x1b0 A_DELAY_PS(0) G_DELAY_PS(60)	/* CFG_GPMC_A21_IN */
			0x1b4 A_DELAY_PS(0) G_DELAY_PS(0)	/* CFG_GPMC_A21_OEN */
			0x1b8 A_DELAY_PS(136) G_DELAY_PS(0)	/* CFG_GPMC_A21_OUT */
			0x1bc A_DELAY_PS(0) G_DELAY_PS(60)	/* CFG_GPMC_A22_IN */
			0x1c0 A_DELAY_PS(0) G_DELAY_PS(0)	/* CFG_GPMC_A22_OEN */
			0x1c4 A_DELAY_PS(0) G_DELAY_PS(0)	/* CFG_GPMC_A22_OUT */
			0x1c8 A_DELAY_PS(514) G_DELAY_PS(360)	/* CFG_GPMC_A23_IN */
			0x1d0 A_DELAY_PS(879) G_DELAY_PS(0)	/* CFG_GPMC_A23_OUT */
			0x1d4 A_DELAY_PS(187) G_DELAY_PS(120)	/* CFG_GPMC_A24_IN */
			0x1d8 A_DELAY_PS(0) G_DELAY_PS(0)	/* CFG_GPMC_A24_OEN */
			0x1dc A_DELAY_PS(0) G_DELAY_PS(0)	/* CFG_GPMC_A24_OUT */
			0x1e0 A_DELAY_PS(0) G_DELAY_PS(0)	/* CFG_GPMC_A25_IN */
			0x1e4 A_DELAY_PS(0) G_DELAY_PS(0)	/* CFG_GPMC_A25_OEN */
			0x1e8 A_DELAY_PS(34) G_DELAY_PS(0)	/* CFG_GPMC_A25_OUT */
			0x1ec A_DELAY_PS(0) G_DELAY_PS(60)	/* CFG_GPMC_A26_IN */
			0x1f0 A_DELAY_PS(0) G_DELAY_PS(0)	/* CFG_GPMC_A26_OEN */
			0x1f4 A_DELAY_PS(120) G_DELAY_PS(0)	/* CFG_GPMC_A26_OUT */
			0x1f8 A_DELAY_PS(121) G_DELAY_PS(60)	/* CFG_GPMC_A27_IN */
			0x1fc A_DELAY_PS(0) G_DELAY_PS(0)	/* CFG_GPMC_A27_OEN */
			0x200 A_DELAY_PS(0) G_DELAY_PS(0)	/* CFG_GPMC_A27_OUT */
			0x360 A_DELAY_PS(0) G_DELAY_PS(0)	/* CFG_GPMC_CS1_IN */
			0x364 A_DELAY_PS(0) G_DELAY_PS(0)	/* CFG_GPMC_CS1_OEN */
			0x368 A_DELAY_PS(11) G_DELAY_PS(0)	/* CFG_GPMC_CS1_OUT */
		>;
	};

};

/*
* Display subsystem remote endport.
*/
&dss {
	ports {
		#address-cells = <1>;
		#size-cells = <0>;

		port {
			reg = <0>;

			dpi_out: endpoint {
				remote-endpoint = <&lcd_in>;
				data-lines = <24>;
			};
		};
	};
};

&epwmss0 {
	status = "okay";
};
&ehrpwm0 {
	status = "okay";
};

&epwmss1 {
	status = "okay";
};
&ehrpwm1 {
	status = "okay";
};

&i2c1 {
	status = "okay";
	clock-frequency = <400000>;

	tps659038: tps659038@58 {
		compatible = "ti,tps659038";
		reg = <0x58>;
		interrupt-parent = <&gpio1>;
		interrupts = <0 IRQ_TYPE_LEVEL_LOW>;

		#interrupt-cells = <2>;
		interrupt-controller;

		ti,system-power-controller;
		ti,palmas-override-powerhold;

		tps659038_pmic {
			compatible = "ti,tps659038-pmic";

			regulators {
				smps12_reg: smps12 {
					/* VDD_MPU */
					regulator-name = "smps12";
					regulator-min-microvolt = < 850000>;
					regulator-max-microvolt = <1250000>;
					regulator-always-on;
					regulator-boot-on;
				};

				smps3_reg: smps3 {
					/* VDD_DDR */
					regulator-name = "smps3";
					regulator-min-microvolt = <1350000>;
					regulator-max-microvolt = <1350000>;
					regulator-always-on;
					regulator-boot-on;
				};

				smps45_reg: smps45 {
					/* VDD_DSPEVE, VDD_IVA, VDD_GPU */
					regulator-name = "smps45";
					regulator-min-microvolt = < 850000>;
					regulator-max-microvolt = <1250000>;
					regulator-always-on;
					regulator-boot-on;
				};

				smps6_reg: smps6 {
					/* VDD_CORE */
					regulator-name = "smps6";
					regulator-min-microvolt = <850000>;
					regulator-max-microvolt = <1150000>;
					regulator-always-on;
					regulator-boot-on;
				};

				/* SMPS7 unused */

				smps8_reg: smps8 {
					/* VDD_1V8 */
					regulator-name = "smps8";
					regulator-min-microvolt = <1800000>;
					regulator-max-microvolt = <1800000>;
					regulator-always-on;
					regulator-boot-on;
				};

				/* SMPS9 unused */

				ldo1_reg: ldo1 {
					/* VDD_SD / VDDSHV8  */
					regulator-name = "ldo1";
					regulator-min-microvolt = <1800000>;
					regulator-max-microvolt = <3300000>;
					regulator-boot-on;
					regulator-always-on;
				};

				ldo2_reg: ldo2 {
					/* VDD_SHV5 */
					regulator-name = "ldo2";
					regulator-min-microvolt = <3300000>;
					regulator-max-microvolt = <3300000>;
					regulator-always-on;
					regulator-boot-on;
				};

				ldo3_reg: ldo3 {
					/* VDDA_1V8_PHYA */
					regulator-name = "ldo3";
					regulator-min-microvolt = <1800000>;
					regulator-max-microvolt = <1800000>;
					regulator-always-on;
					regulator-boot-on;
				};

				ldo4_reg: ldo4 {
					/* VDDA_1V8_PHYB */
					regulator-name = "ldo4";
					regulator-min-microvolt = <1800000>;
					regulator-max-microvolt = <1800000>;
					regulator-always-on;
					regulator-boot-on;
				};

				ldo9_reg: ldo9 {
					/* VDD_RTC */
					regulator-name = "ldo9";
					regulator-min-microvolt = <1050000>;
					regulator-max-microvolt = <1050000>;
					regulator-always-on;
					regulator-boot-on;
				};

				ldoln_reg: ldoln {
					/* VDDA_1V8_PLL */
					regulator-name = "ldoln";
					regulator-min-microvolt = <1800000>;
					regulator-max-microvolt = <1800000>;
					regulator-always-on;
					regulator-boot-on;
				};

				ldousb_reg: ldousb {
					/* VDDA_3V_USB: VDDA_USBHS33 */
					regulator-name = "ldousb";
					regulator-min-microvolt = <3300000>;
					regulator-max-microvolt = <3300000>;
					regulator-boot-on;
				};

				regen1: regen1 {
					/* VDD_3V3_ON */
					regulator-name = "regen1";
					regulator-boot-on;
					regulator-always-on;
				};
			};
		};

		tps659038_rtc: tps659038_rtc {
			compatible = "ti,palmas-rtc";
			interrupt-parent = <&tps659038>;
			interrupts = <8 IRQ_TYPE_EDGE_FALLING>;
			wakeup-source;
		};

		tps659038_pwr_button: tps659038_pwr_button {
			compatible = "ti,palmas-pwrbutton";
			interrupt-parent = <&tps659038>;
			interrupts = <1 IRQ_TYPE_EDGE_FALLING>;
			wakeup-source;
			ti,palmas-long-press-seconds = <12>;
		};

		tps659038_gpio: tps659038_gpio {
			compatible = "ti,palmas-gpio";
			gpio-controller;
			#gpio-cells = <2>;
		};

		extcon_usb2: tps659038_usb {
			compatible = "ti,palmas-usb-vid";
			ti,enable-vbus-detection;
			vbus-gpio = <&gpio4 21 GPIO_ACTIVE_HIGH>;
		};

	};

	tmp112: tmp112@48 {
		compatible = "tmp112";
		reg = <0x48>;
		interrupt-parent = <&gpio7>;
		interrupts = <16 IRQ_TYPE_LEVEL_LOW>;
		#thermal-sensor-cells = <1>;
	};
};

&i2c3 {
	status = "okay";
	clock-frequency = <100000>;
	rtc0: rtc@30  {
		compatible = "s35390a";
		reg = <0x30>;
		interrupts-extended = <&crossbar_mpu GIC_SPI 2 IRQ_TYPE_EDGE_RISING>,
					    <&dra7_pmx_core 0x424>;  /* GPIO interrupt*/
					      
		wakeup-source; /* Support wakeup.*/
	};

	adv-wdt-i2c@29 {
		compatible = "adv-wdt-i2c";
		reg = <0x29>;
		wdt-ping = <&gpio3 1 GPIO_ACTIVE_HIGH>;
		wdt-en = <&gpio3 3 GPIO_ACTIVE_HIGH>;
	};
};

&i2c4 {
	status = "okay";
	clock-frequency = <100000>;	
};

&i2c5 {
	status = "okay";
	clock-frequency = <100000>;	

	pca954x: pca954x@70  {
		compatible = "nxp,pca9545";
		reg = <0x70>;
		#address-cells = <1>;		
		#size-cells = <0>;

		i2c@1 {
			#address-cells = <1>;			
			#size-cells = <0>;
			reg = <1>;

			tlv320aic3106: tlv320aic3106@1b {
				#sound-dai-cells = <0>;
				compatible = "ti,tlv320aic3106";
				reg = <0x1b>;

				assigned-clocks = <&clkoutmux2_clk_mux>;
				assigned-clock-parents = <&sys_clk2_dclk_div>;

				adc-settle-ms = <40>;
				ai3x-micbias-vg = <1>;
				AVDD-supply = <&vdd_3v3>;
				IOVDD-supply = <&vdd_3v3>;
				DRVDD-supply = <&vdd_3v3>;
				DVDD-supply = <&aic_dvdd>;

				status = "okay";
			};
		};

		i2c@2 {
			#address-cells = <1>;
			#size-cells = <0>;
			reg = <2>;

			pca9538: gpio@22 {
				compatible = "nxp,pca9555";
				reg = <0x22>;
				gpio-controller;
				polarity = <0>;
				status = "okay";
			};
		};
	};
};

&gpio7 {
	ti,no-reset-on-init;
	ti,no-idle-on-init;
};

/*
* MCSPI interface. 3 port,
*/
&mcspi3 {
	status = "okay";
	ti,spi-num-cs = <2>;
	spidev0 {
	 	compatible = "spidev";
		reg = <0>;
		spi-max-frequency = <50000000>;
	};
	spidev1 {
	 	compatible = "spidev";
		reg = <1>;
		spi-max-frequency = <50000000>;
	};
};

&cpu0 {
	vdd-supply = <&smps12_reg>;
	voltage-tolerance = <1>;
};

&uart3 {
	status = "okay";
	interrupts-extended = <&crossbar_mpu GIC_SPI 69 IRQ_TYPE_LEVEL_HIGH>,
			      <&dra7_pmx_core 0x3f8>;
};

&uart4 {
	status = "okay";
	pinctrl-names = "default";
	pinctrl-0 = <&uart4_pins>;
};
&uart5 {
	status = "okay";
	pinctrl-names = "default";
	pinctrl-0 = <&uart5_pins>;
};

&davinci_mdio {
	phy0: ethernet-phy@1 {
		reg = <4>;
	};
};

&mac {
	status = "okay";
	active_slave = <1>;
	/delete-property/ dual_emac;
};

&cpsw_emac1 {
	phy-handle = <&phy0>;
	phy-mode = "rgmii";
	dual_emac_res_vlan = <1>;
};

&mmc1 {
	status = "okay";

	pinctrl-names = "default", "hs";
	pinctrl-0 = <&mmc1_pins_default>;
	pinctrl-1 = <&mmc1_pins_hs>;

	bus-width = <4>;
	vmmc-supply = <&ldo1_reg>;
	no-1-8-v;
	cd-gpios = <&gpio6 27 GPIO_ACTIVE_LOW>; /* gpio 219 */
};

&mmc2 {
	status = "okay";

	pinctrl-names = "default", "hs", "ddr_1_8v";
	pinctrl-0 = <&mmc2_pins_default>;
	pinctrl-1 = <&mmc2_pins_hs>;
	pinctrl-2 = <&mmc2_pins_ddr_3_3v_rev11 &mmc2_iodelay_ddr_3_3v_rev11_conf>;

	vmmc-supply = <&vdd_3v3>;
	vqmmc-supply = <&vdd_3v3>;
	bus-width = <8>;
	non-removable;
	no-1-8-v;
};

&sata {
	status = "okay";
};

&usb2_phy1 {
	phy-supply = <&ldousb_reg>;
};

&usb2_phy2 {
	phy-supply = <&ldousb_reg>;
};

&omap_dwc3_1 {
	extcon = <&extcon_usb1>;
};

&usb1 {
	maximum-speed = "super-speed";
	dr_mode = "otg";
};

&omap_dwc3_2 {
	extcon = <&extcon_usb2>;
};

&usb2 {
	/*
	 * Stand alone usage is peripheral only.
	 * However, with some resistor modifications
	 * this port can be used via expansion connectors
	 * as "host" or "dual-role". If so, provide
	 * the necessary dr_mode override in the expansion
	 * board's DT.
	 */
	dr_mode = "host";
};

&gpu {
	status = "ok";
};

&dss {
	status = "ok";

	vdda_video-supply = <&ldoln_reg>;
};

&bb2d {
	status = "okay";
};

&hdmi {
	status = "ok";
	vdda-supply = <&ldo4_reg>;

	port {
		hdmi_out: endpoint {
			remote-endpoint = <&hdmi_connector_in>;
		};
	};
};

&pcie1_rc {
	status = "okay";
};

&pcie2_rc {
        status = "okay";
};

&mcasp3 {
	#sound-dai-cells = <0>;
	assigned-clocks = <&mcasp3_ahclkx_mux>;
	assigned-clock-parents = <&sys_clkin2>;
	status = "okay";

	op-mode = <0>;	/* MCASP_IIS_MODE */
	tdm-slots = <2>;
	/* 4 serializers */
	serial-dir = <	/* 0: INACTIVE, 1: TX, 2: RX */
		2 1 0 0
	>;
	tx-num-evt = <32>;
	rx-num-evt = <32>;
};

&pruss_soc_bus1 {
	status = "okay";

	pruss1: pruss@0 {
		status = "okay";
	};
};

&pruss_soc_bus2 {
	status = "okay";

	pruss2: pruss@0 {
		status = "okay";
	};
};

&ipu2 {
	status = "okay";
	memory-region = <&ipu2_memory_region>;
};

&ipu1 {
	status = "okay";
	memory-region = <&ipu1_memory_region>;
};

&dsp1 {
	status = "okay";
	memory-region = <&dsp1_memory_region>;
};

&dsp2 {
	status = "okay";
	memory-region = <&dsp2_memory_region>;
};

&dcan2 {
        status = "okay";
	pinctrl-names = "default";
	pinctrl-0 = <&dcan2_pins>;
};

&qspi {
	status = "okay";
	spi-max-frequency = <50000000>;

	/* W25Q32FVSSIG SPI Flash*/
	m25p80@0 {
		compatible = "w25q128";
		spi-max-frequency = <50000000>;
		reg = <0>;	/* CS address. */
		spi-tx-bus-width = <1>;
		spi-rx-bus-width = <4>;
		spi-cpol;
		spi-cpha;
	};
};
